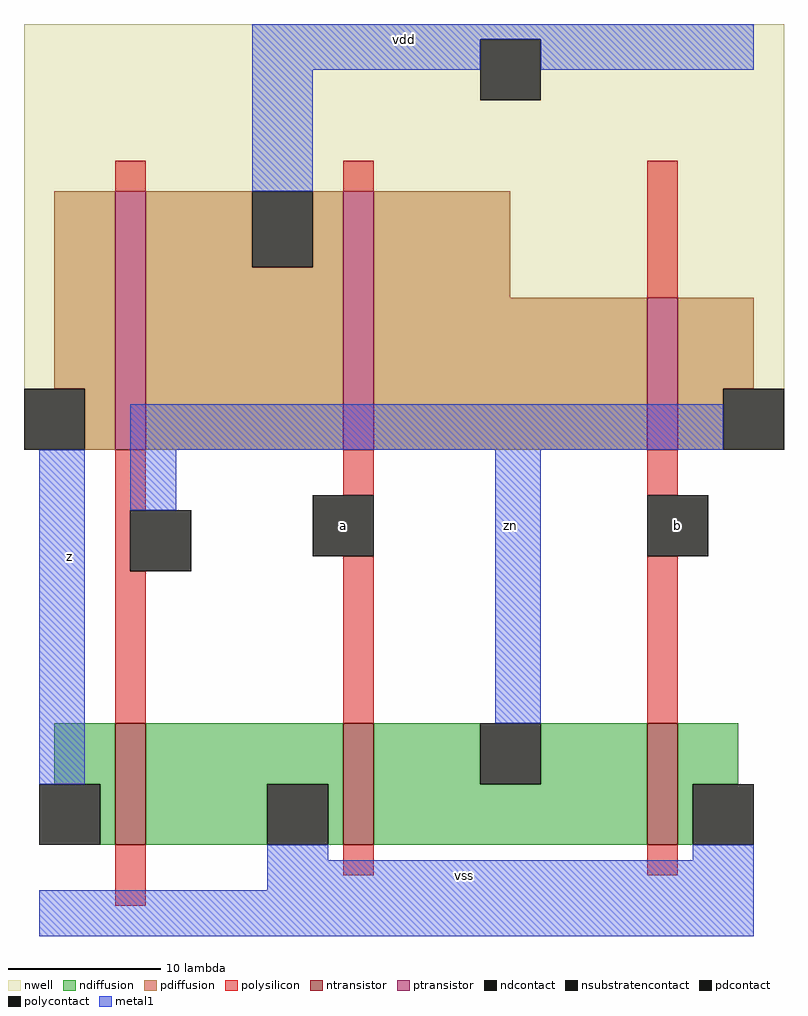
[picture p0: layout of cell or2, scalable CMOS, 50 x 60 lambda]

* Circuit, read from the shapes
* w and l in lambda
.subckt or2 a b vdd vss z zn
M1 vss zn z VSUBS nfet w=8 l=2
M2 zn a vss VSUBS nfet w=8 l=2
M3 vss b zn VSUBS nfet w=8 l=2
M4 vdd zn z vdd pfet w=17 l=2
M5 n1 a vdd vdd pfet w=17 l=2
M6 zn b n1 vdd pfet w=10 l=2
.ends

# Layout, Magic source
magic
tech scmos
<< nwell >>
rect 0 24 50 52
<< polysilicon >>
rect 6 41 8 43
rect 21 41 23 43
rect 41 34 43 43
rect 6 20 8 24
rect 21 21 23 24
rect 6 16 7 20
rect 6 6 8 16
rect 21 6 23 17
rect 41 21 43 24
rect 41 6 43 17
rect 6 -6 8 -2
rect 21 -4 23 -2
rect 41 -4 43 -2
<< ndiffusion >>
rect 2 2 6 6
rect 5 -2 6 2
rect 8 2 21 6
rect 8 -2 16 2
rect 20 -2 21 2
rect 23 2 30 6
rect 34 2 41 6
rect 23 -2 41 2
rect 43 2 47 6
rect 43 -2 44 2
<< pdiffusion >>
rect 2 28 6 41
rect 4 24 6 28
rect 8 36 15 41
rect 19 36 21 41
rect 8 24 21 36
rect 23 34 32 41
rect 23 24 41 34
rect 43 28 48 34
rect 43 24 46 28
<< metal1 >>
rect 15 51 48 52
rect 15 49 30 51
rect 15 41 19 49
rect 34 49 48 51
rect 1 2 4 24
rect 7 24 46 27
rect 7 20 10 24
rect 31 6 34 24
rect 16 -3 20 -2
rect 44 -3 48 -2
rect 16 -5 48 -3
rect 1 -8 48 -5
<< ntransistor >>
rect 6 -2 8 6
rect 21 -2 23 6
rect 41 -2 43 6
<< ptransistor >>
rect 6 24 8 41
rect 21 24 23 41
rect 41 24 43 34
<< polycontact >>
rect 7 16 11 20
rect 19 17 23 21
rect 41 17 45 21
<< ndcontact >>
rect 1 -2 5 2
rect 16 -2 20 2
rect 30 2 34 6
rect 44 -2 48 2
<< pdcontact >>
rect 0 24 4 28
rect 15 36 19 41
rect 46 24 50 28
<< nsubstratencontact >>
rect 30 47 34 51
<< labels >>
rlabel polycontact 21 19 21 19 1 a
rlabel polycontact 43 19 43 19 1 b
rlabel metal1 32 19 32 19 1 zn
rlabel metal1 3 17 3 17 3 z
rlabel metal1 29 -4 29 -4 1 vss
rlabel metal1 25 51 25 51 5 vdd
<< end >>
